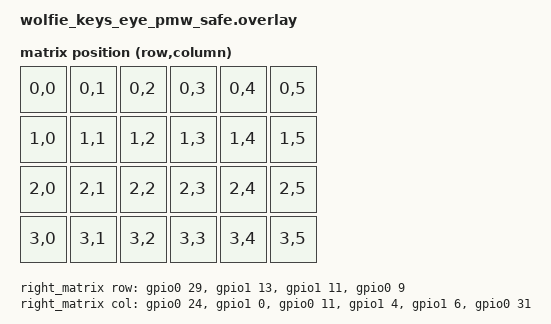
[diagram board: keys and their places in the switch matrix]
/*
 * Keyboard matrix copied from working right_half_test.dtsi;
 * PMW3610 SPI0 controller and listener included below.
 * The separate wolfie_display_bus shield defines the tested SPI1 bus.
 */
#include <dt-bindings/zmk/matrix_transform.h>
#include <zephyr/dt-bindings/gpio/gpio.h>

/ {
    right_matrix: right_matrix {
        compatible = "zmk,kscan-gpio-matrix";
        diode-direction = "col2row";
        row-gpios = <&gpio0 29 (GPIO_ACTIVE_HIGH | GPIO_PULL_DOWN)>,
                    <&gpio1 13 (GPIO_ACTIVE_HIGH | GPIO_PULL_DOWN)>,
                    <&gpio1 11 (GPIO_ACTIVE_HIGH | GPIO_PULL_DOWN)>,
                    <&gpio0 9 (GPIO_ACTIVE_HIGH | GPIO_PULL_DOWN)>;
        col-gpios = <&gpio0 24 (GPIO_ACTIVE_HIGH)>,
                    <&gpio1 0 (GPIO_ACTIVE_HIGH)>,
                    <&gpio0 11 (GPIO_ACTIVE_HIGH)>,
                    <&gpio1 4 (GPIO_ACTIVE_HIGH)>,
                    <&gpio1 6 (GPIO_ACTIVE_HIGH)>,
                    <&gpio0 31 (GPIO_ACTIVE_HIGH)>;
    };

    default_transform: keymap_transform {
        compatible = "zmk,matrix-transform";
        rows = <4>;
        columns = <6>;
        map = <
            RC(0,0) RC(0,1) RC(0,2) RC(0,3) RC(0,4) RC(0,5)
            RC(1,0) RC(1,1) RC(1,2) RC(1,3) RC(1,4) RC(1,5)
            RC(2,0) RC(2,1) RC(2,2) RC(2,3) RC(2,4) RC(2,5)
            RC(3,0) RC(3,1) RC(3,2) RC(3,3) RC(3,4) RC(3,5)
        >;
    };

    physical_layouts {
        compatible = "zmk,physical-layouts";
        default_layout: default_layout {
            compatible = "zmk,physical-layout";
            display-name = "Right Half Test";
            kscan = <&right_matrix>;
            transform = <&default_transform>;
        };
    };

    chosen { zmk,physical-layout = &default_layout; };
};

/* Working PMW3610 SPI0 controller and listener */
#include <zephyr/dt-bindings/gpio/gpio.h>
#include <zephyr/dt-bindings/input/input-event-codes.h>
#include <zephyr/dt-bindings/pinctrl/nrf-pinctrl.h>

&pinctrl {
    pmw_spi_default: pmw_spi_default {
        group1 {
            psels = <NRF_PSEL(SPIM_SCK, 0, 22)>,
                    <NRF_PSEL(SPIM_MOSI, 0, 8)>,
                    <NRF_PSEL(SPIM_MISO, 0, 8)>;
        };
    };

    pmw_spi_sleep: pmw_spi_sleep {
        group1 {
            psels = <NRF_PSEL(SPIM_SCK, 0, 22)>,
                    <NRF_PSEL(SPIM_MOSI, 0, 8)>,
                    <NRF_PSEL(SPIM_MISO, 0, 8)>;
            low-power-enable;
        };
    };
};

&spi0 {
    status = "okay";
    compatible = "nordic,nrf-spim";
    pinctrl-0 = <&pmw_spi_default>;
    pinctrl-1 = <&pmw_spi_sleep>;
    pinctrl-names = "default", "sleep";
    cs-gpios = <&gpio0 2 GPIO_ACTIVE_LOW>;

 
trackball: trackball@0 {
    compatible = "pixart,pmw3610-alt";
    reg = <0>;
    spi-max-frequency = <2000000>;
    irq-gpios = <&gpio1 15 (GPIO_ACTIVE_LOW | GPIO_PULL_UP)>;
    cpi = <600>;

    swap-xy;
    invert-x;
    invert-y;

    evt-type = <INPUT_EV_REL>;
    x-input-code = <INPUT_REL_X>;
    y-input-code = <INPUT_REL_Y>;
    status = "okay";
};

};

/ {
    trackball_listener {
        compatible = "zmk,input-listener";
        device = <&trackball>;
    };
};
